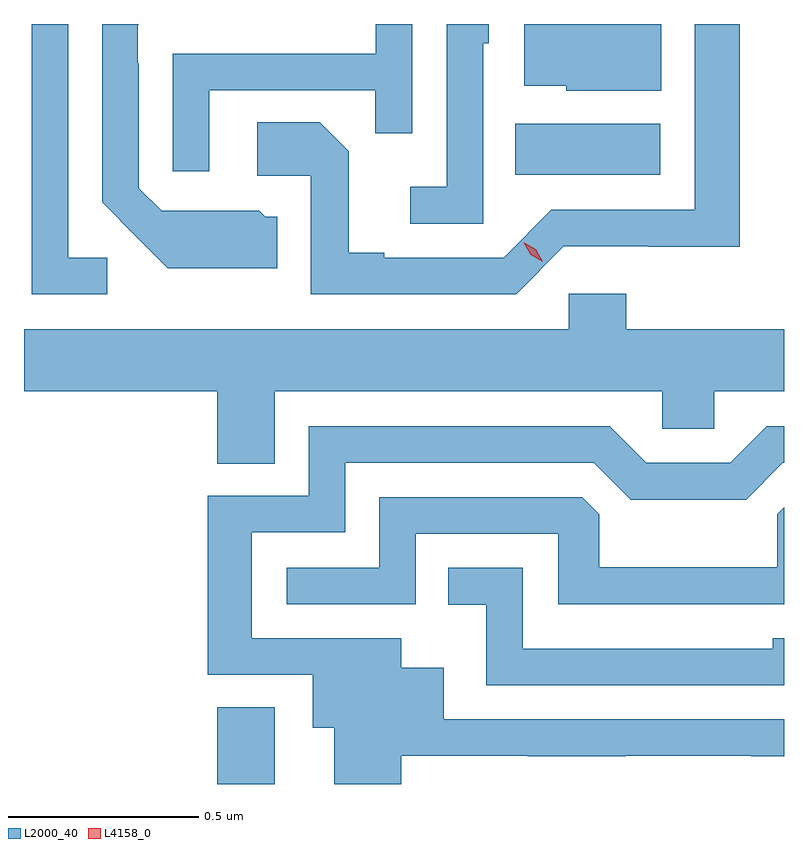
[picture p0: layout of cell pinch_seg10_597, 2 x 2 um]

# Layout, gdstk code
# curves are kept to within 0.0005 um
import gdstk
lib = gdstk.Library(unit=1e-6, precision=1e-09)
def R(c, l, rs):  # rectangles x0, y0, x1, y1
    for r in rs: c.add(gdstk.rectangle(r[:2], r[2:], *l))
def P(c, l, *ps):  # polygons
    for p in ps: c.add(gdstk.Polygon(p, *l))
L2000_40 = (2000, 40)
L4158_0 = (4158, 0)

pinch_seg10_597 = lib.new_cell('pinch_seg10_597')
R(pinch_seg10_597, L2000_40, [(316.181,1255.327,316.333,1255.529), (316.966,1256.93,317.347,1257.064)])
P(pinch_seg10_597, L2000_40, [(317.094,1256.742),(317.316,1256.742),(317.316,1256.741),(317.557,1256.741),(317.557,1257.327),(317.438,1257.327),(317.438,1256.838),(317.061,1256.838),(316.935,1256.712),(316.621,1256.712),(316.621,1256.725),(316.527,1256.725),(316.527,1256.992),(316.451,1257.068),(316.287,1257.068),(316.287,1256.928),(316.428,1256.928),(316.428,1256.616),(316.968,1256.616)],
  [(316.881,1257.276),(316.896,1257.276),(316.896,1257.327),(316.785,1257.327),(316.785,1256.899),(316.689,1256.899),(316.689,1256.802),(316.881,1256.802)],
  [(316.339,1256.82),(316.308,1256.82),(316.292,1256.836),(316.158,1256.836),(316.158,1256.835),(316.035,1256.835),(315.975,1256.895),(315.975,1257.224),(315.972,1257.224),(315.972,1257.324),(315.975,1257.327),(315.879,1257.327),(315.879,1256.858),(316.051,1256.684),(316.339,1256.684)],
  [(315.892,1256.712),(315.789,1256.712),(315.789,1257.327),(315.693,1257.327),(315.693,1256.616),(315.892,1256.616)],
  [(317.35,1257.327),(316.989,1257.327),(316.989,1257.164),(317.1,1257.164),(317.1,1257.152),(317.35,1257.152)],
  [(316.161,1257.153),(316.597,1257.153),(316.597,1257.04),(316.695,1257.04),(316.695,1257.327),(316.599,1257.327),(316.599,1257.249),(316.065,1257.249),(316.065,1256.94),(316.161,1256.94)],
  [(316.333,1256.36),(317.352,1256.36),(317.352,1256.262),(317.49,1256.262),(317.49,1256.36),(317.673,1256.36),(317.673,1256.524),(317.258,1256.524),(317.258,1256.617),(317.106,1256.617),(317.106,1256.524),(315.673,1256.524),(315.673,1256.36),(316.181,1256.36),(316.181,1256.17),(316.333,1256.17)],
  [(316.666,1255.401),(316.999,1255.401),(316.999,1255.4),(317.255,1255.4),(317.255,1255.401),(317.587,1255.401),(317.587,1255.4),(317.673,1255.4),(317.673,1255.497),(316.777,1255.497),(316.777,1255.633),(316.666,1255.633),(316.666,1255.71),(316.272,1255.71),(316.272,1255.989),(316.518,1255.989),(316.518,1256.172),(317.172,1256.172),(317.27,1256.075),(317.573,1256.075),(317.67,1256.172),(317.673,1256.172),(317.673,1256.268),(317.628,1256.268),(317.532,1256.172),(317.31,1256.172),(317.214,1256.268),(316.422,1256.268),(316.422,1256.085),(316.156,1256.085),(316.156,1255.614),(316.433,1255.614),(316.433,1255.475),(316.49,1255.475),(316.49,1255.327),(316.666,1255.327)],
  [(316.704,1255.986),(317.079,1255.986),(317.079,1255.8),(317.673,1255.8),(317.673,1256.055),(317.655,1256.037),(317.655,1255.898),(317.187,1255.898),(317.187,1256.037),(317.142,1256.082),(316.608,1256.082),(316.608,1255.896),(316.365,1255.896),(316.365,1255.8),(316.704,1255.8)],
  [(317.673,1255.711),(317.643,1255.711),(317.643,1255.683),(316.986,1255.683),(316.986,1255.896),(316.789,1255.896),(316.789,1255.799),(316.889,1255.799),(316.889,1255.587),(317.673,1255.587)])
P(pinch_seg10_597, L4158_0, [(317.038,1256.701),(317.006,1256.72),(316.988,1256.752),(316.988,1256.752),(316.989,1256.752),(317.02,1256.734),(317.038,1256.701),(317.038,1256.701)])

lib.write_gds('pinch_seg10_597.gds')
